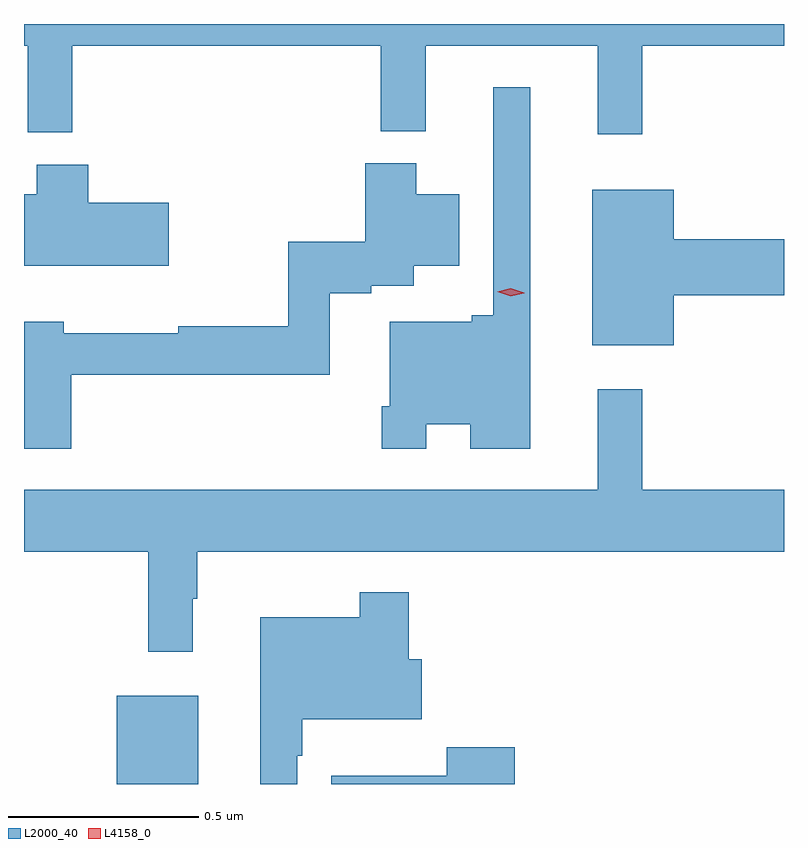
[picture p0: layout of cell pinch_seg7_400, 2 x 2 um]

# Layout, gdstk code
import gdstk
lib = gdstk.Library(unit=1e-6, precision=1e-09)
def R(c, l, rs):  # rectangles x0, y0, x1, y1
    for r in rs: c.add(gdstk.rectangle(r[:2], r[2:], *l))
def P(c, l, *ps):  # polygons
    for p in ps: c.add(gdstk.Polygon(p, *l))
L2000_40 = (2000, 40)
L4158_0 = (4158, 0)

pinch_seg7_400 = lib.new_cell('pinch_seg7_400')
R(pinch_seg7_400, L2000_40, [(426.65,1019.985,426.865,1020.217)])
P(pinch_seg7_400, L2000_40, [(428.033,1021.928),(428.406,1021.928),(428.406,1021.985),(426.406,1021.985),(426.406,1021.928),(426.416,1021.928),(426.416,1021.7),(426.533,1021.7),(426.533,1021.928),(427.345,1021.928),(427.345,1021.703),(427.463,1021.703),(427.463,1021.928),(427.916,1021.928),(427.916,1021.695),(428.033,1021.695)],
  [(427.464,1020.932),(427.58,1020.932),(427.58,1020.867),(427.738,1020.867),(427.738,1021.819),(427.641,1021.819),(427.641,1021.219),(427.584,1021.219),(427.584,1021.201),(427.368,1021.201),(427.368,1020.979),(427.348,1020.979),(427.348,1020.867),(427.464,1020.867)],
  [(426.53,1021.062),(427.21,1021.062),(427.21,1021.276),(427.32,1021.276),(427.32,1021.296),(427.432,1021.296),(427.432,1021.349),(427.552,1021.349),(427.552,1021.537),(427.438,1021.537),(427.438,1021.618),(427.304,1021.618),(427.304,1021.412),(427.101,1021.412),(427.101,1021.19),(426.812,1021.19),(426.812,1021.171),(426.511,1021.171),(426.511,1021.201),(426.406,1021.201),(426.406,1020.867),(426.53,1020.867)],
  [(426.787,1021.515),(426.575,1021.515),(426.575,1021.615),(426.44,1021.615),(426.44,1021.537),(426.406,1021.537),(426.406,1021.349),(426.787,1021.349)],
  [(428.116,1021.271),(428.406,1021.271),(428.406,1021.418),(428.116,1021.418),(428.116,1021.549),(427.901,1021.549),(427.901,1021.139),(428.116,1021.139)],
  [(426.85,1020.473),(426.862,1020.473),(426.862,1020.596),(428.406,1020.596),(428.406,1020.76),(428.033,1020.76),(428.033,1021.024),(427.916,1021.024),(427.916,1020.76),(426.406,1020.76),(426.406,1020.596),(426.733,1020.596),(426.733,1020.333),(426.85,1020.333)],
  [(427.125,1020.059),(427.138,1020.059),(427.138,1020.155),(427.453,1020.155),(427.453,1020.313),(427.418,1020.313),(427.418,1020.49),(427.29,1020.49),(427.29,1020.424),(427.028,1020.424),(427.028,1019.985),(427.125,1019.985)],
  [(427.697,1020.082),(427.519,1020.082),(427.519,1020.007),(427.214,1020.007),(427.214,1019.985),(427.697,1019.985)])
P(pinch_seg7_400, L4158_0, [(427.687,1021.269),(427.652,1021.28),(427.651,1021.28),(427.652,1021.28),(427.687,1021.289),(427.722,1021.278),(427.723,1021.277),(427.722,1021.277)])

lib.write_gds('pinch_seg7_400.gds')
